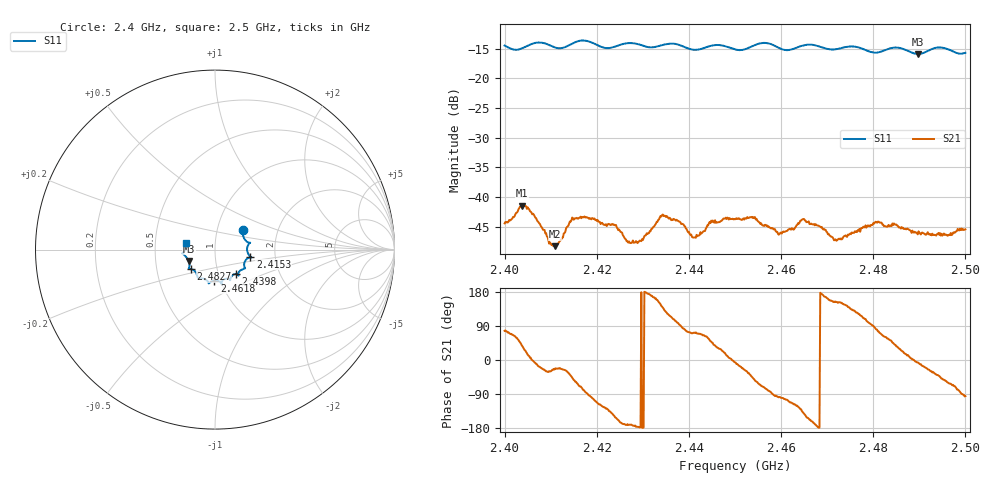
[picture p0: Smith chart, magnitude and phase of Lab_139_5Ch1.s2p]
# Hz S RI R 50
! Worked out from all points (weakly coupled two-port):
!   601 points, 2.4 GHz to 2.5 GHz, reference 50 ohm
!   highest |S21| = -41.44 dB at 2.4038 GHz (marker M1); lowest = -48.3 dB at 2.4108 GHz (marker M2)
!   lowest |S11| = -15.9 dB at 2.4897 GHz (marker M3), VSWR 1.38, Z = 36.9 - j4.83 ohm
!   |S11| at or under -10 dB: start of sweep to end of sweep
!   S12 and S22 are empty: the file has one direction only
!   S11 on the Smith chart (normalised r, x): 2.4 GHz: 1.33, +0.29; 2.4153 GHz: 1.49, -0.12; 2.4398 GHz: 1.21, -0.34; 2.4618 GHz: 0.94, -0.33; 2.4827 GHz: 0.75, -0.17; 2.5 GHz: 0.72, +0.06
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2.4e9  0.1552 0.1066  0.00135 0.00585  0 0  0 0
2.403833e9  0.1721 0.0489  0.00677 0.00509  0 0  0 0
2.410833e9  0.1813 0.0171  0.00349 -0.00164  0 0  0 0
2.415333e9  0.1972 -0.039  0.00358 -0.00557  0 0  0 0
2.416667e9  0.2031 -0.0435  0.00201 -0.00633  0 0  0 0
2.423833e9  0.1621 -0.0863  -0.00492 -0.00307  0 0  0 0
2.427167e9  0.1682 -0.1038  -0.00406 -0.000672  0 0  0 0
2.4295e9  0.1574 -0.108  -0.00427 -0.000224  0 0  0 0
2.433333e9  0.1296 -0.1335  -0.00583 0.00271  0 0  0 0
2.437167e9  0.1313 -0.1429  -0.00138 0.00618  0 0  0 0
2.439833e9  0.1153 -0.1354  0.00142 0.00484  0 0  0 0
2.441333e9  0.1012 -0.1407  0.00146 0.00433  0 0  0 0
2.444833e9  0.0844 -0.1676  0.00418 0.00476  0 0  0 0
2.45e9  0.0656 -0.1622  0.00645 -0.000715  0 0  0 0
2.456333e9  0.039 -0.1944  0.0017 -0.00545  0 0  0 0
2.461833e9  -0.00345 -0.173  -0.00187 -0.00507  0 0  0 0
2.466667e9  -0.0351 -0.1881  -0.00563 -0.00184  0 0  0 0
2.472e9  -0.0704 -0.1609  -0.00382 0.00195  0 0  0 0
2.482667e9  -0.1347 -0.1084  0.00278 0.00495  0 0  0 0
2.483333e9  -0.1398 -0.1082  0.00337 0.00475  0 0  0 0
2.489667e9  -0.1466 -0.0637  0.00482 -0.000528  0 0  0 0
2.5e9  -0.1591 0.0383  -0.000502 -0.00532  0 0  0 0
